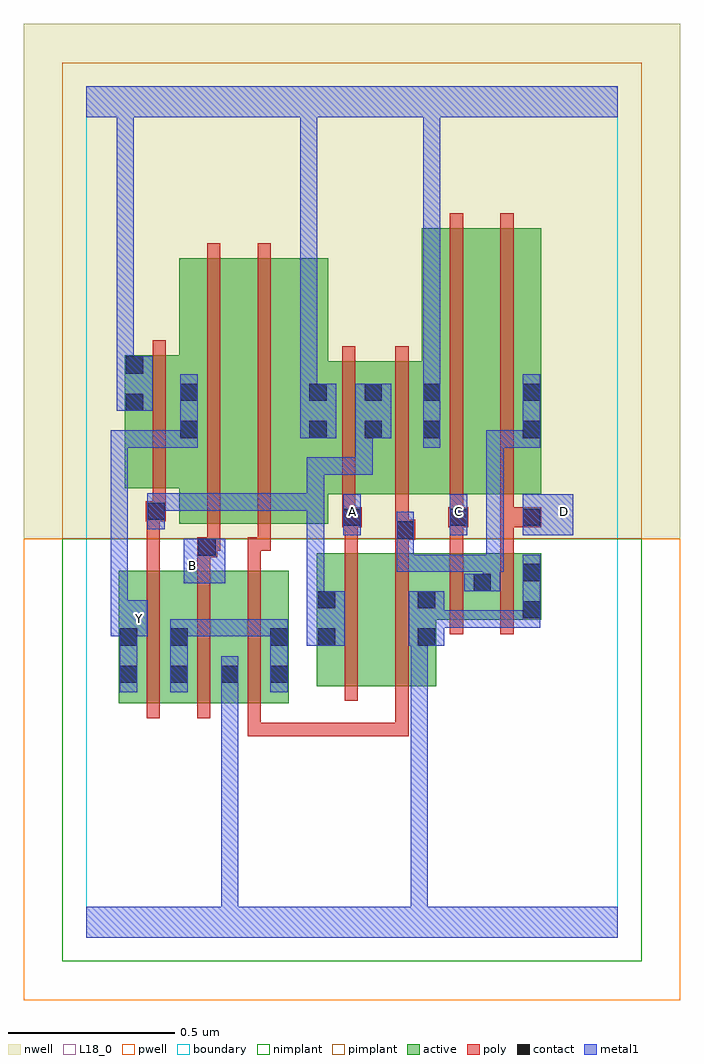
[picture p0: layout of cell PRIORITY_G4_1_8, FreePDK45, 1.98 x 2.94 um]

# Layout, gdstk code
import gdstk
lib = gdstk.Library(unit=1e-6, precision=1e-09)
def R(c, l, rs):  # rectangles x0, y0, x1, y1
    for r in rs: c.add(gdstk.rectangle(r[:2], r[2:], *l))
def A(c, l, x, y, w, h, nx, ny, dx, dy):  # array of equal rectangles
    R(c, l, [(x+i*dx, y+j*dy, x+i*dx+w, y+j*dy+h) for i in range(nx) for j in range(ny)])
active = (1, 0)
pwell = (2, 0)
nwell = (3, 0)
nimplant = (4, 0)
pimplant = (5, 0)
poly = (9, 0)
contact = (10, 0)
metal1 = (11, 0)
L18_0 = (18, 0)
boundary = (235, 0)

priority_g4_1_8 = lib.new_cell('PRIORITY_G4_1_8')
R(priority_g4_1_8, active, [(0.098,0.704,0.31,1.104), (0.25,0.704,0.462,1.104), (0.402,0.704,0.61,1.104), (0.402,0.704,0.462,0.822), (0.55,0.704,0.61,1.104), (0.098,0.756,0.158,1.104), (0.25,0.756,0.31,0.934), (0.694,0.756,0.754,1.156), (0.694,0.756,0.874,1.156), (0.874,0.756,1.054,1.156), (0.994,0.756,1.054,1.156), (0.994,0.956,1.222,1.156), (1.162,0.956,1.222,1.156), (1.162,0.956,1.37,1.156), (1.31,0.956,1.37,1.156), (0.28,1.244,0.46,2.044), (0.46,1.244,0.728,2.044), (0.668,1.334,0.728,1.67), (0.668,1.334,0.894,1.734), (0.834,1.334,0.894,1.67), (0.834,1.334,1.07,1.734), (1.01,1.334,1.19,2.134), (1.01,1.334,1.07,1.67), (1.19,1.334,1.37,2.134), (1.31,1.334,1.37,2.044), (0.116,1.352,0.176,1.752), (0.116,1.352,0.34,1.752), (0.28,1.352,0.34,1.67)])
R(priority_g4_1_8, pwell, [(-0.188,-0.188,1.788,1.2)])
R(priority_g4_1_8, nwell, [(-0.188,1.2,1.788,2.748)])
R(priority_g4_1_8, nimplant, [(-0.072,-0.072,1.672,1.2)])
R(priority_g4_1_8, pimplant, [(-0.072,1.2,1.672,2.632)])
A(priority_g4_1_8, poly, 0.182, 0.66, 0.04, 0.488, 3, 1, 0.152, 0)
R(priority_g4_1_8, poly, [(0.486,0.606,0.526,0.646), (0.486,0.606,0.526,0.646), (0.486,0.606,0.526,0.646), (0.486,0.606,0.632,0.646), (0.486,0.606,0.526,0.7), (0.592,0.606,0.632,0.646), (0.592,0.606,0.632,0.646), (0.592,0.606,0.632,0.646), (0.592,0.606,0.97,0.646), (0.93,0.606,0.97,0.646), (0.93,0.606,0.97,0.646), (0.93,0.606,0.97,0.646), (0.93,0.606,0.97,0.752), (0.778,0.712,0.818,1.2), (0.93,0.712,0.97,1.2), (1.094,0.912,1.134,1.2), (1.246,0.912,1.286,1.2), (0.182,1.108,0.222,1.292), (0.334,1.108,0.374,1.184), (0.486,1.108,0.526,1.204), (0.334,1.144,0.394,1.204), (0.778,1.16,0.818,1.274), (0.93,1.16,0.97,1.236), (1.094,1.16,1.134,1.274), (1.246,1.16,1.286,1.274), (0.354,1.164,0.394,1.204), (0.354,1.164,0.404,1.204), (0.364,1.164,0.404,1.24), (0.486,1.164,0.556,1.204), (0.516,1.164,0.556,1.24), (0.516,1.164,0.556,1.204), (0.516,1.164,0.556,1.204), (0.93,1.196,0.99,1.256), (0.364,1.2,0.404,2.088), (0.516,1.2,0.556,2.088), (0.93,1.216,0.97,1.256), (0.93,1.216,0.97,1.256), (0.93,1.216,0.97,1.33), (0.77,1.234,0.83,1.294), (1.09,1.234,1.15,1.294), (1.094,1.234,1.134,1.274), (1.094,1.234,1.134,1.274), (1.246,1.234,1.37,1.294), (0.18,1.252,0.24,1.312), (0.182,1.252,0.222,1.292), (0.182,1.252,0.222,1.292), (0.77,1.254,0.81,1.33), (0.77,1.254,0.81,1.294), (0.77,1.254,0.81,1.294), (1.094,1.254,1.134,1.33), (1.246,1.254,1.286,1.33), (1.246,1.254,1.286,1.294), (1.246,1.254,1.286,1.294), (0.2,1.272,0.24,1.348), (0.77,1.29,0.81,1.778), (0.93,1.29,0.97,1.778), (1.094,1.29,1.134,2.178), (1.246,1.29,1.286,2.178), (0.2,1.308,0.24,1.796)])
A(priority_g4_1_8, contact, 0.102, 0.766, 0.052, 0.052, 3, 1, 0.152, 0)
R(priority_g4_1_8, contact, [(0.554,0.766,0.606,0.818), (0.102,0.878,0.154,0.93), (0.254,0.878,0.306,0.93), (0.554,0.878,0.606,0.93), (0.698,0.878,0.75,0.93), (0.998,0.878,1.05,0.93), (1.314,0.96,1.366,1.012), (0.698,0.99,0.75,1.042), (0.998,0.99,1.05,1.042), (1.166,1.042,1.218,1.094), (1.314,1.072,1.366,1.124), (0.338,1.148,0.39,1.2), (0.934,1.2,0.986,1.252), (0.774,1.238,0.826,1.29), (1.094,1.238,1.146,1.29), (1.314,1.238,1.366,1.29), (0.184,1.256,0.236,1.308), (0.284,1.502,0.336,1.554), (0.672,1.502,0.724,1.554), (0.838,1.502,0.89,1.554), (1.014,1.502,1.066,1.554), (1.314,1.502,1.366,1.554), (0.12,1.584,0.172,1.636), (0.284,1.614,0.336,1.666), (0.672,1.614,0.724,1.666), (0.838,1.614,0.89,1.666), (1.014,1.614,1.066,1.666), (1.314,1.614,1.366,1.666), (0.12,1.696,0.172,1.748)])
R(priority_g4_1_8, metal1, [(0,0,1.6,0.092), (0.406,0.04,0.458,0.092), (0.406,0.04,0.458,0.092), (0.406,0.04,0.458,0.092), (0.406,0.04,0.458,0.092), (0.406,0.04,0.458,0.092), (0.406,0.04,0.458,0.092), (0.406,0.04,0.458,0.092), (0.406,0.04,0.458,0.092), (0.406,0.04,0.458,0.092), (0.406,0.04,0.458,0.092), (0.406,0.04,0.458,0.092), (0.406,0.04,0.458,0.092), (0.406,0.04,0.458,0.79), (0.976,0.04,1.028,0.092), (0.976,0.04,1.028,0.092), (0.976,0.04,1.028,0.092), (0.976,0.04,1.028,0.092), (0.976,0.04,1.028,0.092), (0.976,0.04,1.028,0.092), (0.976,0.04,1.028,0.93), (0.102,0.738,0.154,0.958), (0.254,0.738,0.306,0.958), (0.406,0.738,0.458,0.846), (0.554,0.738,0.606,0.958), (0.664,0.878,0.778,1.042), (0.97,0.878,1.078,1.042), (0.976,0.878,1.028,0.93), (0.976,0.878,1.028,0.93), (0.976,0.878,1.028,0.93), (0.976,0.878,1.028,0.93), (0.976,0.878,1.028,0.93), (0.976,0.878,1.028,0.93), (0.074,0.906,0.186,1.014), (0.102,0.906,0.154,0.958), (0.254,0.906,0.346,0.958), (0.294,0.906,0.346,0.958), (0.294,0.906,0.416,0.958), (0.364,0.906,0.416,0.958), (0.364,0.906,0.606,0.958), (0.554,0.906,0.606,0.958), (0.554,0.906,0.606,0.958), (1.026,0.932,1.256,0.984), (1.204,0.932,1.256,0.984), (1.204,0.932,1.256,0.984), (1.204,0.932,1.256,0.984), (1.204,0.932,1.256,0.984), (1.204,0.932,1.256,0.984), (1.204,0.932,1.256,0.984), (1.204,0.932,1.256,0.984), (1.204,0.932,1.366,0.984), (1.314,0.932,1.366,0.984), (1.314,0.932,1.366,0.984), (1.314,0.932,1.366,1.152), (0.074,0.962,0.126,1.526), (0.664,0.99,0.716,1.336), (1.138,1.042,1.246,1.094), (1.194,1.042,1.246,1.152), (0.294,1.066,0.418,1.2), (0.934,1.1,0.986,1.224), (0.934,1.1,1.246,1.152), (1.194,1.1,1.246,1.152), (1.194,1.1,1.246,1.152), (1.194,1.1,1.256,1.152), (1.204,1.1,1.256,1.526), (0.934,1.172,0.986,1.224), (0.934,1.172,0.986,1.28), (0.774,1.21,0.826,1.334), (1.094,1.21,1.146,1.334), (1.314,1.21,1.466,1.334), (0.184,1.228,0.236,1.336), (0.184,1.284,0.236,1.336), (0.184,1.284,0.236,1.336), (0.184,1.284,0.386,1.336), (0.334,1.284,0.386,1.336), (0.334,1.284,0.496,1.336), (0.444,1.284,0.496,1.336), (0.444,1.284,0.496,1.336), (0.444,1.284,0.496,1.336), (0.444,1.284,0.716,1.336), (0.664,1.284,0.716,1.336), (0.664,1.284,0.716,1.336), (0.664,1.284,0.716,1.336), (0.664,1.284,0.716,1.336), (0.664,1.284,0.716,1.444), (0.664,1.392,0.862,1.444), (0.81,1.392,0.862,1.444), (0.81,1.392,0.862,1.444), (0.81,1.392,0.862,1.444), (0.81,1.392,0.862,1.554), (0.074,1.474,0.126,1.526), (0.074,1.474,0.126,1.526), (0.074,1.474,0.126,1.526), (0.074,1.474,0.126,1.526), (0.074,1.474,0.126,1.526), (0.074,1.474,0.336,1.526), (0.284,1.474,0.336,1.694), (1.014,1.474,1.066,1.694), (1.204,1.474,1.256,1.526), (1.204,1.474,1.366,1.526), (1.314,1.474,1.366,1.526), (1.314,1.474,1.366,1.526), (1.314,1.474,1.366,1.526), (1.314,1.474,1.366,1.526), (1.314,1.474,1.366,1.694), (0.644,1.502,0.752,1.666), (0.81,1.502,0.918,1.666), (0.092,1.584,0.2,1.748), (0.644,1.614,0.696,1.666), (0.644,1.614,0.696,1.666), (0.644,1.614,0.696,2.52), (1.014,1.642,1.066,1.694), (1.014,1.642,1.066,1.694), (1.014,1.642,1.066,1.694), (1.014,1.642,1.066,1.694), (1.014,1.642,1.066,1.694), (1.014,1.642,1.066,1.694), (1.014,1.642,1.066,2.52), (0.092,1.696,0.144,1.748), (0.092,1.696,0.144,1.748), (0.092,1.696,0.144,1.748), (0.092,1.696,0.144,1.748), (0.092,1.696,0.144,2.52), (0,2.468,1.6,2.56), (0.092,2.468,0.144,2.52), (0.092,2.468,0.144,2.52), (0.092,2.468,0.144,2.52), (0.092,2.468,0.144,2.52), (0.092,2.468,0.144,2.52), (0.092,2.468,0.144,2.52), (0.092,2.468,0.144,2.52), (0.092,2.468,0.144,2.52), (0.092,2.468,0.144,2.52), (0.092,2.468,0.144,2.52), (0.092,2.468,0.144,2.52), (0.092,2.468,0.144,2.52), (0.644,2.468,0.696,2.52), (0.644,2.468,0.696,2.52), (0.644,2.468,0.696,2.52), (0.644,2.468,0.696,2.52), (0.644,2.468,0.696,2.52), (0.644,2.468,0.696,2.52), (1.014,2.468,1.066,2.52), (1.014,2.468,1.066,2.52)])
A(priority_g4_1_8, L18_0, 0.774, 1.254, 0.052, 0.052, 3, 1, 0.32, 0)
R(priority_g4_1_8, L18_0, [(0,0,1.6,0.092), (0.406,0.04,0.458,0.092), (0.406,0.04,0.458,0.092), (0.406,0.04,0.458,0.092), (0.406,0.04,0.458,0.092), (0.406,0.04,0.458,0.092), (0.406,0.04,0.458,0.092), (0.406,0.04,0.458,0.092), (0.406,0.04,0.458,0.092), (0.406,0.04,0.458,0.092), (0.406,0.04,0.458,0.092), (0.406,0.04,0.458,0.092), (0.406,0.04,0.458,0.092), (0.406,0.04,0.458,0.79), (0.976,0.04,1.028,0.092), (0.976,0.04,1.028,0.092), (0.976,0.04,1.028,0.092), (0.976,0.04,1.028,0.092), (0.976,0.04,1.028,0.092), (0.976,0.04,1.028,0.092), (0.976,0.04,1.028,0.93), (0.102,0.738,0.154,0.958), (0.406,0.738,0.458,0.846), (0.97,0.878,1.078,1.042), (0.976,0.878,1.028,0.93), (0.976,0.878,1.028,0.93), (0.976,0.878,1.028,0.93), (0.976,0.878,1.028,0.93), (0.976,0.878,1.028,0.93), (0.976,0.878,1.028,0.93), (0.074,0.906,0.186,1.014), (0.102,0.906,0.154,0.958), (1.026,0.932,1.256,0.984), (1.204,0.932,1.256,0.984), (1.204,0.932,1.256,0.984), (1.204,0.932,1.256,0.984), (1.204,0.932,1.256,0.984), (1.204,0.932,1.256,0.984), (1.204,0.932,1.256,0.984), (1.204,0.932,1.256,0.984), (1.204,0.932,1.366,0.984), (1.314,0.932,1.366,1.152), (1.314,0.932,1.366,0.984), (1.314,0.932,1.366,0.984), (0.134,0.934,0.186,0.986), (0.074,0.962,0.126,1.526), (0.294,1.066,0.418,1.2), (0.294,1.094,0.346,1.146), (0.774,1.21,0.826,1.334), (1.094,1.21,1.146,1.334), (1.314,1.21,1.466,1.334), (0.074,1.474,0.126,1.526), (0.074,1.474,0.126,1.526), (0.074,1.474,0.126,1.526), (0.074,1.474,0.126,1.526), (0.074,1.474,0.126,1.526), (0.074,1.474,0.336,1.526), (0.284,1.474,0.336,1.694), (1.014,1.474,1.066,1.694), (0.644,1.502,0.752,1.666), (0.092,1.584,0.2,1.748), (0.644,1.614,0.696,1.666), (0.644,1.614,0.696,1.666), (0.644,1.614,0.696,2.52), (1.014,1.642,1.066,1.694), (1.014,1.642,1.066,1.694), (1.014,1.642,1.066,1.694), (1.014,1.642,1.066,1.694), (1.014,1.642,1.066,1.694), (1.014,1.642,1.066,1.694), (1.014,1.642,1.066,2.52), (0.092,1.696,0.144,1.748), (0.092,1.696,0.144,1.748), (0.092,1.696,0.144,1.748), (0.092,1.696,0.144,1.748), (0.092,1.696,0.144,2.52), (0,2.468,1.6,2.56), (0.092,2.468,0.144,2.52), (0.092,2.468,0.144,2.52), (0.092,2.468,0.144,2.52), (0.092,2.468,0.144,2.52), (0.092,2.468,0.144,2.52), (0.092,2.468,0.144,2.52), (0.092,2.468,0.144,2.52), (0.092,2.468,0.144,2.52), (0.092,2.468,0.144,2.52), (0.092,2.468,0.144,2.52), (0.092,2.468,0.144,2.52), (0.092,2.468,0.144,2.52), (0.644,2.468,0.696,2.52), (0.644,2.468,0.696,2.52), (0.644,2.468,0.696,2.52), (0.644,2.468,0.696,2.52), (0.644,2.468,0.696,2.52), (0.644,2.468,0.696,2.52), (1.014,2.468,1.066,2.52), (1.014,2.468,1.066,2.52)])
R(priority_g4_1_8, boundary, [(0,0,1.6,2.56)])
priority_g4_1_8.add(gdstk.Label('A', (0.8,1.28), layer=11, texttype=0))
priority_g4_1_8.add(gdstk.Label('B', (0.32,1.12), layer=11, texttype=0))
priority_g4_1_8.add(gdstk.Label('C', (1.12,1.28), layer=11, texttype=0))
priority_g4_1_8.add(gdstk.Label('D', (1.44,1.28), layer=11, texttype=0))
priority_g4_1_8.add(gdstk.Label('Y', (0.16,0.96), layer=11, texttype=0))

lib.write_gds('PRIORITY_G4_1_8.gds')
